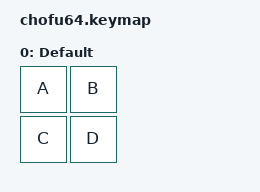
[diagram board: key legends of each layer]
/ {
    keymap {
        compatible = "zmk,keymap";

        default_layer {
            label = "Default";
            bindings = <
                &kp A &kp B
                &kp C &kp D
            >;
        };
    };
};
